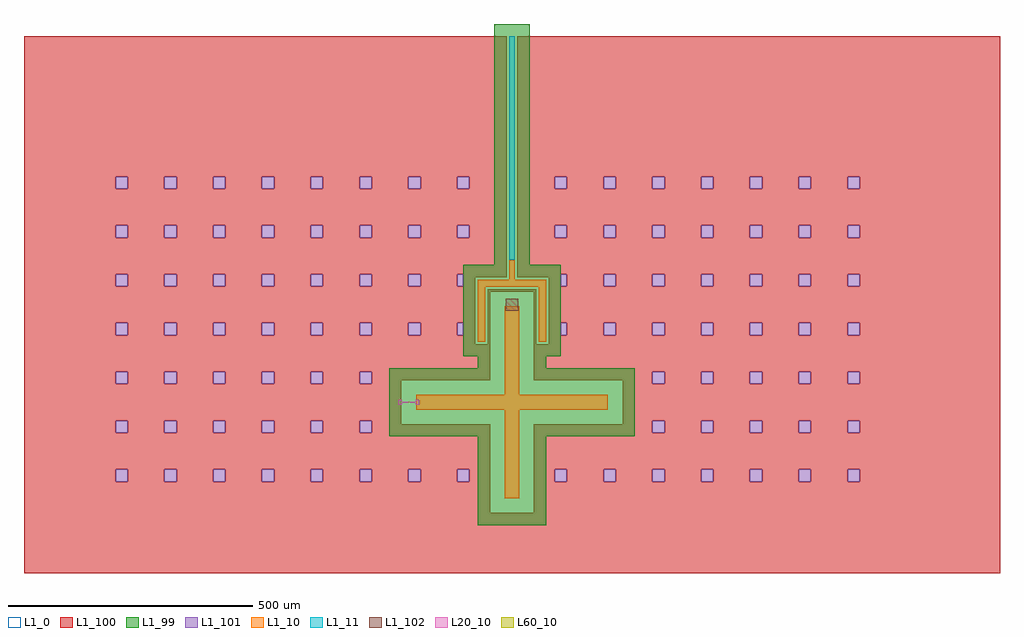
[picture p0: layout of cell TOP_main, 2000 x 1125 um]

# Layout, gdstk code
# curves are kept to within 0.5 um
import gdstk
lib = gdstk.Library(unit=1e-6, precision=1e-09)
def R(c, l, rs):  # rectangles x0, y0, x1, y1
    for r in rs: c.add(gdstk.rectangle(r[:2], r[2:], *l))
def A(c, l, x, y, w, h, nx, ny, dx, dy):  # array of equal rectangles
    R(c, l, [(x+i*dx, y+j*dy, x+i*dx+w, y+j*dy+h) for i in range(nx) for j in range(ny)])
def P(c, l, *ps):  # polygons
    for p in ps: c.add(gdstk.Polygon(p, *l))
L1_0 = (1, 0)
L1_10 = (1, 10)
L1_11 = (1, 11)
L1_99 = (1, 99)
L1_100 = (1, 100)
L1_101 = (1, 101)
L1_102 = (1, 102)
L20_10 = (20, 10)
L60_10 = (60, 10)

ground_main_1 = lib.new_cell('ground_main_1')
P(ground_main_1, L1_0, [(74.851,56.528),(74.851,-80.983),(49.651,-80.983),(49.651,31.328),(-49.651,31.328),(-49.651,-80.983),(-74.851,-80.983),(-74.851,56.528),(-10.95,56.528),(-10.95,550),(-1000,550),(-1000,-245),(-226.677,-245),(-226.677,-155),(-45,-155),(-45,26.677),(45,26.677),(45,-155),(226.677,-155),(226.677,-245),(45,-245),(45,-426.677),(-45,-426.677),(-45,-245),(-226.677,-245),(-1000,-245),(-1000,-550),(1000,-550),(1000,550),(10.95,550),(10.95,56.528)])

top_main_1_one_hole = lib.new_cell('TOP_main_1_one_hole')
P(top_main_1_one_hole, L1_102, [(12.5,-12.5),(12.5,12.5),(-12.5,12.5),(-12.5,-12.5),(12.5,-12.5)])

top_main_1_cheese_diff = lib.new_cell('TOP_main_1_Cheese_diff')
A(top_main_1_cheese_diff, L1_101, -812.5, -362.5, 25, 25, 8, 2, 100, 500)
A(top_main_1_cheese_diff, L1_101, 87.5, -362.5, 25, 25, 7, 2, 100, 500)
A(top_main_1_cheese_diff, L1_101, -812.5, -262.5, 25, 25, 6, 2, 100, 100)
A(top_main_1_cheese_diff, L1_101, 287.5, -262.5, 25, 25, 5, 2, 100, 100)
A(top_main_1_cheese_diff, L1_101, -812.5, -62.5, 25, 25, 7, 2, 100, 100)
A(top_main_1_cheese_diff, L1_101, 187.5, -62.5, 25, 25, 6, 2, 100, 100)
A(top_main_1_cheese_diff, L1_101, -812.5, 237.5, 25, 25, 8, 1, 100, 0)
A(top_main_1_cheese_diff, L1_101, 87.5, 237.5, 25, 25, 7, 1, 100, 0)
R(top_main_1_cheese_diff, L1_101, [(-112.5,-62.5,-99.851,-37.5), (99.851,-62.5,112.5,-37.5), (-112.5,37.5,-99.851,62.5), (99.851,37.5,112.5,62.5)])

top_main_1_cheese_100 = lib.new_cell('TOP_main_1_Cheese_100')
P(top_main_1_cheese_100, L1_100, [(-487.5,-137.5),(-487.5,-62.5),(-512.5,-62.5),(-512.5,-37.5),(-487.5,-37.5),(-487.5,37.5),(-512.5,37.5),(-512.5,62.5),(-487.5,62.5),(-487.5,137.5),(-512.5,137.5),(-512.5,162.5),(-487.5,162.5),(-487.5,237.5),(-512.5,237.5),(-512.5,262.5),(-487.5,262.5),(-487.5,550),(-1000,550),(-1000,237.5),(-812.5,237.5),(-812.5,262.5),(-787.5,262.5),(-787.5,237.5),(-712.5,237.5),(-712.5,262.5),(-687.5,262.5),(-687.5,237.5),(-612.5,237.5),(-612.5,262.5),(-587.5,262.5),(-587.5,237.5),(-612.5,237.5),(-687.5,237.5),(-712.5,237.5),(-787.5,237.5),(-812.5,237.5),(-1000,237.5),(-1000,137.5),(-812.5,137.5),(-812.5,162.5),(-787.5,162.5),(-787.5,137.5),(-712.5,137.5),(-712.5,162.5),(-687.5,162.5),(-687.5,137.5),(-612.5,137.5),(-612.5,162.5),(-587.5,162.5),(-587.5,137.5),(-612.5,137.5),(-687.5,137.5),(-712.5,137.5),(-787.5,137.5),(-812.5,137.5),(-1000,137.5),(-1000,37.5),(-812.5,37.5),(-812.5,62.5),(-787.5,62.5),(-787.5,37.5),(-712.5,37.5),(-712.5,62.5),(-687.5,62.5),(-687.5,37.5),(-612.5,37.5),(-612.5,62.5),(-587.5,62.5),(-587.5,37.5),(-612.5,37.5),(-687.5,37.5),(-712.5,37.5),(-787.5,37.5),(-812.5,37.5),(-1000,37.5),(-1000,-62.5),(-812.5,-62.5),(-812.5,-37.5),(-787.5,-37.5),(-787.5,-62.5),(-712.5,-62.5),(-712.5,-37.5),(-687.5,-37.5),(-687.5,-62.5),(-612.5,-62.5),(-612.5,-37.5),(-587.5,-37.5),(-587.5,-62.5),(-612.5,-62.5),(-687.5,-62.5),(-712.5,-62.5),(-787.5,-62.5),(-812.5,-62.5),(-1000,-62.5),(-1000,-162.5),(-812.5,-162.5),(-812.5,-137.5),(-787.5,-137.5),(-787.5,-162.5),(-712.5,-162.5),(-712.5,-137.5),(-687.5,-137.5),(-687.5,-162.5),(-612.5,-162.5),(-612.5,-137.5),(-587.5,-137.5),(-587.5,-162.5),(-612.5,-162.5),(-687.5,-162.5),(-712.5,-162.5),(-787.5,-162.5),(-812.5,-162.5),(-1000,-162.5),(-1000,-262.5),(-812.5,-262.5),(-812.5,-237.5),(-787.5,-237.5),(-787.5,-262.5),(-712.5,-262.5),(-712.5,-237.5),(-687.5,-237.5),(-687.5,-262.5),(-612.5,-262.5),(-612.5,-237.5),(-587.5,-237.5),(-587.5,-262.5),(-612.5,-262.5),(-687.5,-262.5),(-712.5,-262.5),(-787.5,-262.5),(-812.5,-262.5),(-1000,-262.5),(-1000,-362.5),(-812.5,-362.5),(-812.5,-337.5),(-787.5,-337.5),(-787.5,-362.5),(-712.5,-362.5),(-712.5,-337.5),(-687.5,-337.5),(-687.5,-362.5),(-612.5,-362.5),(-612.5,-337.5),(-587.5,-337.5),(-587.5,-362.5),(-612.5,-362.5),(-687.5,-362.5),(-712.5,-362.5),(-787.5,-362.5),(-812.5,-362.5),(-1000,-362.5),(-1000,-550),(-487.5,-550),(-487.5,-362.5),(-512.5,-362.5),(-512.5,-337.5),(-487.5,-337.5),(-487.5,-262.5),(-512.5,-262.5),(-512.5,-237.5),(-487.5,-237.5),(-487.5,-162.5),(-512.5,-162.5),(-512.5,-137.5)],
  [(-99.851,-337.5),(-99.851,-245),(-226.677,-245),(-226.677,-155),(-99.851,-155),(-99.851,-62.5),(-112.5,-62.5),(-112.5,-37.5),(-99.851,-37.5),(-99.851,37.5),(-112.5,37.5),(-112.5,62.5),(-99.851,62.5),(-99.851,137.5),(-112.5,137.5),(-112.5,162.5),(-99.851,162.5),(-99.851,237.5),(-112.5,237.5),(-112.5,262.5),(-99.851,262.5),(-99.851,550),(-487.5,550),(-487.5,237.5),(-412.5,237.5),(-412.5,262.5),(-387.5,262.5),(-387.5,237.5),(-312.5,237.5),(-312.5,262.5),(-287.5,262.5),(-287.5,237.5),(-212.5,237.5),(-212.5,262.5),(-187.5,262.5),(-187.5,237.5),(-212.5,237.5),(-287.5,237.5),(-312.5,237.5),(-387.5,237.5),(-412.5,237.5),(-487.5,237.5),(-487.5,137.5),(-412.5,137.5),(-412.5,162.5),(-387.5,162.5),(-387.5,137.5),(-312.5,137.5),(-312.5,162.5),(-287.5,162.5),(-287.5,137.5),(-212.5,137.5),(-212.5,162.5),(-187.5,162.5),(-187.5,137.5),(-212.5,137.5),(-287.5,137.5),(-312.5,137.5),(-387.5,137.5),(-412.5,137.5),(-487.5,137.5),(-487.5,37.5),(-412.5,37.5),(-412.5,62.5),(-387.5,62.5),(-387.5,37.5),(-312.5,37.5),(-312.5,62.5),(-287.5,62.5),(-287.5,37.5),(-212.5,37.5),(-212.5,62.5),(-187.5,62.5),(-187.5,37.5),(-212.5,37.5),(-287.5,37.5),(-312.5,37.5),(-387.5,37.5),(-412.5,37.5),(-487.5,37.5),(-487.5,-62.5),(-412.5,-62.5),(-412.5,-37.5),(-387.5,-37.5),(-387.5,-62.5),(-312.5,-62.5),(-312.5,-37.5),(-287.5,-37.5),(-287.5,-62.5),(-212.5,-62.5),(-212.5,-37.5),(-187.5,-37.5),(-187.5,-62.5),(-212.5,-62.5),(-287.5,-62.5),(-312.5,-62.5),(-387.5,-62.5),(-412.5,-62.5),(-487.5,-62.5),(-487.5,-162.5),(-412.5,-162.5),(-412.5,-137.5),(-387.5,-137.5),(-387.5,-162.5),(-312.5,-162.5),(-312.5,-137.5),(-287.5,-137.5),(-287.5,-162.5),(-312.5,-162.5),(-387.5,-162.5),(-412.5,-162.5),(-487.5,-162.5),(-487.5,-262.5),(-412.5,-262.5),(-412.5,-237.5),(-387.5,-237.5),(-387.5,-262.5),(-312.5,-262.5),(-312.5,-237.5),(-287.5,-237.5),(-287.5,-262.5),(-312.5,-262.5),(-387.5,-262.5),(-412.5,-262.5),(-487.5,-262.5),(-487.5,-362.5),(-412.5,-362.5),(-412.5,-337.5),(-387.5,-337.5),(-387.5,-362.5),(-312.5,-362.5),(-312.5,-337.5),(-287.5,-337.5),(-287.5,-362.5),(-212.5,-362.5),(-212.5,-337.5),(-187.5,-337.5),(-187.5,-362.5),(-212.5,-362.5),(-287.5,-362.5),(-312.5,-362.5),(-387.5,-362.5),(-412.5,-362.5),(-487.5,-362.5),(-487.5,-550),(-99.851,-550),(-99.851,-362.5),(-112.5,-362.5),(-112.5,-337.5)],
  [(74.851,56.528),(74.851,37.5),(99.851,37.5),(99.851,62.5),(112.5,62.5),(112.5,37.5),(187.5,37.5),(187.5,62.5),(212.5,62.5),(212.5,37.5),(287.5,37.5),(287.5,62.5),(312.5,62.5),(312.5,37.5),(287.5,37.5),(212.5,37.5),(187.5,37.5),(112.5,37.5),(99.851,37.5),(74.851,37.5),(74.851,-62.5),(99.851,-62.5),(99.851,-37.5),(112.5,-37.5),(112.5,-62.5),(187.5,-62.5),(187.5,-37.5),(212.5,-37.5),(212.5,-62.5),(287.5,-62.5),(287.5,-37.5),(312.5,-37.5),(312.5,-62.5),(287.5,-62.5),(212.5,-62.5),(187.5,-62.5),(112.5,-62.5),(99.851,-62.5),(74.851,-62.5),(74.851,-80.983),(49.651,-80.983),(49.651,31.328),(-49.651,31.328),(-49.651,-80.983),(-74.851,-80.983),(-74.851,56.528),(-10.95,56.528),(-10.95,550),(-99.851,550),(-99.851,262.5),(-87.5,262.5),(-87.5,237.5),(-99.851,237.5),(-99.851,162.5),(-87.5,162.5),(-87.5,137.5),(-99.851,137.5),(-99.851,-155),(-45,-155),(-45,26.677),(45,26.677),(45,-155),(226.677,-155),(226.677,-162.5),(287.5,-162.5),(287.5,-137.5),(312.5,-137.5),(312.5,-162.5),(287.5,-162.5),(226.677,-162.5),(226.677,-245),(45,-245),(45,-262.5),(287.5,-262.5),(287.5,-237.5),(312.5,-237.5),(312.5,-262.5),(287.5,-262.5),(45,-262.5),(45,-362.5),(87.5,-362.5),(87.5,-337.5),(112.5,-337.5),(112.5,-362.5),(187.5,-362.5),(187.5,-337.5),(212.5,-337.5),(212.5,-362.5),(287.5,-362.5),(287.5,-337.5),(312.5,-337.5),(312.5,-362.5),(287.5,-362.5),(212.5,-362.5),(187.5,-362.5),(112.5,-362.5),(87.5,-362.5),(45,-362.5),(45,-426.677),(-45,-426.677),(-45,-245),(-99.851,-245),(-99.851,-337.5),(-87.5,-337.5),(-87.5,-362.5),(-99.851,-362.5),(-99.851,-550),(387.5,-550),(387.5,550),(10.95,550),(10.95,237.5),(87.5,237.5),(87.5,262.5),(112.5,262.5),(112.5,237.5),(187.5,237.5),(187.5,262.5),(212.5,262.5),(212.5,237.5),(287.5,237.5),(287.5,262.5),(312.5,262.5),(312.5,237.5),(287.5,237.5),(212.5,237.5),(187.5,237.5),(112.5,237.5),(87.5,237.5),(10.95,237.5),(10.95,137.5),(87.5,137.5),(87.5,162.5),(112.5,162.5),(112.5,137.5),(187.5,137.5),(187.5,162.5),(212.5,162.5),(212.5,137.5),(287.5,137.5),(287.5,162.5),(312.5,162.5),(312.5,137.5),(287.5,137.5),(212.5,137.5),(187.5,137.5),(112.5,137.5),(87.5,137.5),(10.95,137.5),(10.95,56.528)],
  [(412.5,237.5),(487.5,237.5),(487.5,262.5),(512.5,262.5),(512.5,237.5),(587.5,237.5),(587.5,262.5),(612.5,262.5),(612.5,237.5),(687.5,237.5),(687.5,262.5),(712.5,262.5),(712.5,237.5),(687.5,237.5),(612.5,237.5),(587.5,237.5),(512.5,237.5),(487.5,237.5),(412.5,237.5),(387.5,237.5),(387.5,162.5),(412.5,162.5),(412.5,137.5),(487.5,137.5),(487.5,162.5),(512.5,162.5),(512.5,137.5),(587.5,137.5),(587.5,162.5),(612.5,162.5),(612.5,137.5),(687.5,137.5),(687.5,162.5),(712.5,162.5),(712.5,137.5),(687.5,137.5),(612.5,137.5),(587.5,137.5),(512.5,137.5),(487.5,137.5),(412.5,137.5),(387.5,137.5),(387.5,62.5),(412.5,62.5),(412.5,37.5),(487.5,37.5),(487.5,62.5),(512.5,62.5),(512.5,37.5),(587.5,37.5),(587.5,62.5),(612.5,62.5),(612.5,37.5),(687.5,37.5),(687.5,62.5),(712.5,62.5),(712.5,37.5),(687.5,37.5),(612.5,37.5),(587.5,37.5),(512.5,37.5),(487.5,37.5),(412.5,37.5),(387.5,37.5),(387.5,-37.5),(412.5,-37.5),(412.5,-62.5),(487.5,-62.5),(487.5,-37.5),(512.5,-37.5),(512.5,-62.5),(587.5,-62.5),(587.5,-37.5),(612.5,-37.5),(612.5,-62.5),(687.5,-62.5),(687.5,-37.5),(712.5,-37.5),(712.5,-62.5),(687.5,-62.5),(612.5,-62.5),(587.5,-62.5),(512.5,-62.5),(487.5,-62.5),(412.5,-62.5),(387.5,-62.5),(387.5,-137.5),(412.5,-137.5),(412.5,-162.5),(487.5,-162.5),(487.5,-137.5),(512.5,-137.5),(512.5,-162.5),(587.5,-162.5),(587.5,-137.5),(612.5,-137.5),(612.5,-162.5),(687.5,-162.5),(687.5,-137.5),(712.5,-137.5),(712.5,-162.5),(687.5,-162.5),(612.5,-162.5),(587.5,-162.5),(512.5,-162.5),(487.5,-162.5),(412.5,-162.5),(387.5,-162.5),(387.5,-237.5),(412.5,-237.5),(412.5,-262.5),(487.5,-262.5),(487.5,-237.5),(512.5,-237.5),(512.5,-262.5),(587.5,-262.5),(587.5,-237.5),(612.5,-237.5),(612.5,-262.5),(687.5,-262.5),(687.5,-237.5),(712.5,-237.5),(712.5,-262.5),(687.5,-262.5),(612.5,-262.5),(587.5,-262.5),(512.5,-262.5),(487.5,-262.5),(412.5,-262.5),(387.5,-262.5),(387.5,-337.5),(412.5,-337.5),(412.5,-362.5),(487.5,-362.5),(487.5,-337.5),(512.5,-337.5),(512.5,-362.5),(587.5,-362.5),(587.5,-337.5),(612.5,-337.5),(612.5,-362.5),(687.5,-362.5),(687.5,-337.5),(712.5,-337.5),(712.5,-362.5),(687.5,-362.5),(612.5,-362.5),(587.5,-362.5),(512.5,-362.5),(487.5,-362.5),(412.5,-362.5),(387.5,-362.5),(387.5,-550),(1000,-550),(1000,550),(387.5,550),(387.5,262.5),(412.5,262.5)])

top_main_1 = lib.new_cell('TOP_main_1')
P(top_main_1, L1_10, [(-15,-3.323),(15,-3.323),(15,-185),(196.677,-185),(196.677,-215),(15,-215),(15,-396.677),(-15,-396.677),(-15,-215),(-196.677,-215),(-196.677,-185),(-15,-185),(-15,-3.323)],
  [(5.85,91.428),(5.85,51.428),(69.751,51.428),(69.751,-75.883),(54.751,-75.883),(54.751,36.428),(-54.751,36.428),(-54.751,-75.883),(-69.751,-75.883),(-69.751,51.428),(-5.85,51.428),(-5.85,91.428),(5.85,91.428)])
R(top_main_1, L1_11, [(-5.85,91.428,5.85,550)])
top_main_1.add(gdstk.Reference(ground_main_1, (0,0)))
top_main_1.add(gdstk.Reference(top_main_1_one_hole, (0,0)))
top_main_1.add(gdstk.Reference(top_main_1_cheese_diff, (0,0)))
top_main_1.add(gdstk.Reference(top_main_1_cheese_100, (0,0)))

top_main_20 = lib.new_cell('TOP_main_20')
P(top_main_20, L20_10, [(-233.177,-195),(-226.177,-195),(-226.177,-197),(-224.177,-199),(-211.677,-199),(-211.037,-199.906),(-209.817,-200.094),(-211.037,-200.094),(-211.677,-201),(-224.177,-201),(-226.177,-203),(-226.177,-205),(-233.177,-205)],
  [(-199.177,-199),(-197.177,-197),(-197.177,-195),(-190.177,-195),(-190.177,-205),(-197.177,-205),(-197.177,-203),(-199.177,-201),(-209.677,-201),(-209.677,-199),(-199.177,-199)])

top_main_60 = lib.new_cell('TOP_main_60')
P(top_main_60, L60_10, [(-211.677,-199),(-211.677,-201),(-211.037,-200.094),(-209.677,-200.094),(-209.677,-199.906),(-211.037,-199.906),(-211.677,-199)])

top_main_1_nocheese_99 = lib.new_cell('TOP_main_1_NoCheese_99')
P(top_main_1_nocheese_99, L1_99, [(-70,-105.983),(-99.851,-105.983),(-99.851,81.528),(-35.95,81.528),(-35.95,575),(35.95,575),(35.95,81.528),(99.851,81.528),(99.851,-105.983),(70,-105.983),(70,-130),(251.677,-130),(251.677,-270),(70,-270),(70,-451.677),(-70,-451.677),(-70,-270),(-251.677,-270),(-251.677,-130),(-70,-130),(-70,-105.983)])

top_main = lib.new_cell('TOP_main')
top_main.add(gdstk.Reference(top_main_1, (0,0)))
top_main.add(gdstk.Reference(top_main_20, (0,0)))
top_main.add(gdstk.Reference(top_main_60, (0,0)))
top_main.add(gdstk.Reference(top_main_1_nocheese_99, (0,0)))

lib.write_gds('TOP_main.gds')
